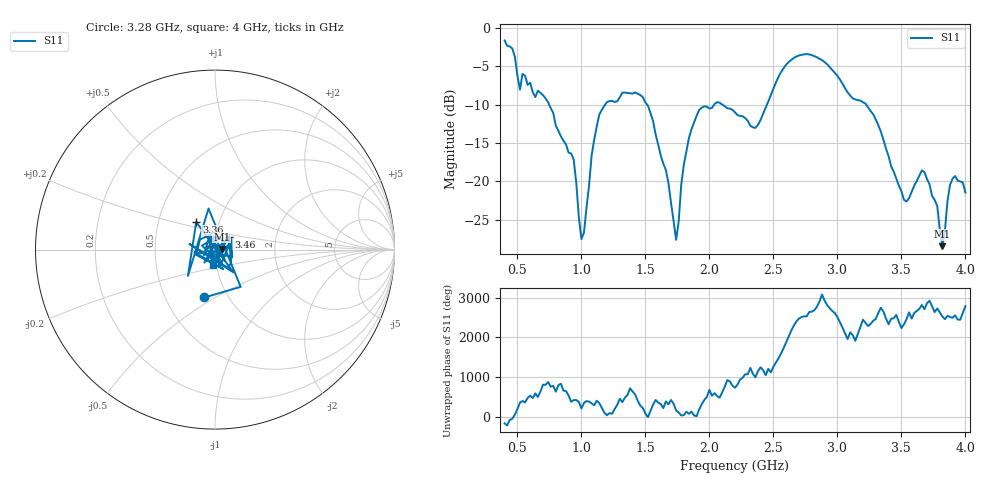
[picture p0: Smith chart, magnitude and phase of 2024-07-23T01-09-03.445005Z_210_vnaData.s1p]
!Created with skrf (http://scikit-rf.org).
# Hz S RI R 50.0
!freq ReS11 ImS11
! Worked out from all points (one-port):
!   181 points, 400 MHz to 4 GHz, reference 50 ohm
!   lowest |S11| = -28.4 dB at 3.82 GHz (marker M1), VSWR 1.08, Z = 53.9 + j0.343 ohm
!   |S11| at or under -10 dB: 747.9 MHz to 1.186 GHz (438.1 MHz wide, 45.3 % of centre); 1.513 GHz to 2.038 GHz (524.9 MHz wide, 29.6 % of centre); 3.225 GHz to end of sweep (the widest 3 of 4)
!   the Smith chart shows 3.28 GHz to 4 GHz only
!   S11 on the Smith chart (normalised r, x): 3.28 GHz: 0.78, -0.45; 3.36 GHz: 0.78, +0.25; 3.46 GHz: 1.15, +0.17; 4 GHz: 0.96, -0.16
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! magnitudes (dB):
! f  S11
! 400 MHz  -1.7
! 480 MHz  -3.8
! 520 MHz  -8.1
! 700 MHz  -8.8
! 860 MHz  -14.7
! 940 MHz  -17.2
! 1 GHz  -27.5
! 1.14 GHz  -11.3
! 1.3 GHz  -9.1
! 1.52 GHz  -10.2
! 1.66 GHz  -18.5
! 1.74 GHz  -27.6
! 1.76 GHz  -25.2
! 1.8 GHz  -17.9
! 1.92 GHz  -10.7
! 2.2 GHz  -11.0
! 2.36 GHz  -13.0
! 2.66 GHz  -3.9
! 3.1 GHz  -8.8
! 3.28 GHz  -11.3
! 3.36 GHz  -14.6
! 3.46 GHz  -19.6
! 3.56 GHz  -22.2
! 3.68 GHz  -18.8
! 3.78 GHz  -23.2
! 3.82 GHz  -28.4
! 3.9 GHz  -19.6
! 4 GHz  -21.5
